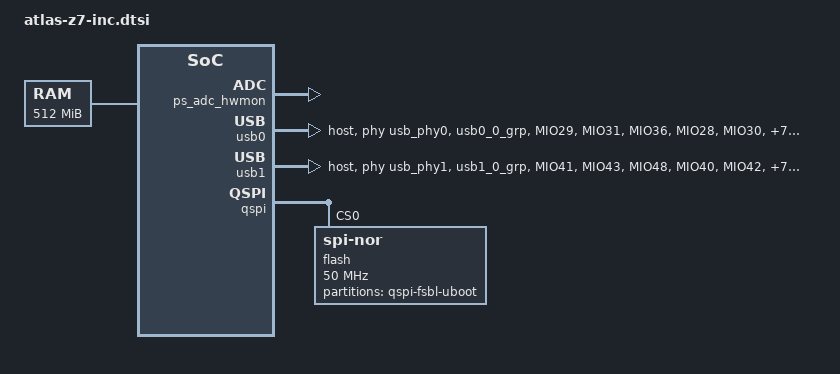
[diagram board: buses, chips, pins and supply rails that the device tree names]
/ {
    aliases {
        /* uart1 is console */
        serial0 = &uart1;
        serial1 = &uart0;
		usb0 = &usb0;
		usb1 = &usb1;
    };

	memory@0 {
		device_type = "memory";
		reg = <0x0 0x20000000>;
	};

    iv_ipmi: iv_ipmi {
        compatible = "iv,ipmi";
        #address-cells = <0x01>;
        #size-cells = <0x01>;

		// see Readme.ipmi

        iv_ipmi_mb: iv_mb {
            i2c = < 1 0x52 0 >;  // < bus_num addr offset >
        };

        iv_ipmi_io: iv_io {
            i2c = < 0 0x53 0 >;  // < bus_num addr offset >
        };
	};

	usb_phy0: phy0@e0002000 {
		compatible = "ulpi-phy";
		#phy-cells = <0>;
		reg = <0xe0002000 0x1000>;
		view-port = <0x0170>;
		drv-vbus;
	};

	usb_phy1: phy0@e0003000 {
		compatible = "ulpi-phy";
		#phy-cells = <0>;
		reg = <0xe0003000 0x1000>;
		view-port = <0x0170>;
		drv-vbus;
	};
};

&pinctrl0 {
	pinctrl_usb0_default: usb0-default {
		mux {
			groups = "usb0_0_grp";
			function = "usb0";
		};

		conf {
			groups = "usb0_0_grp";
			slew-rate = <0>;
			io-standard = <3>;
		};

		conf-rx {
			pins = "MIO29", "MIO31", "MIO36";
			bias-high-impedance;
		};

		conf-tx {
			pins = "MIO28", "MIO30", "MIO32", "MIO33", "MIO34",
			       "MIO35", "MIO37", "MIO38", "MIO39";
			bias-disable;
		};
	};

	pinctrl_usb1_default: usb1-default {
		mux {
			groups = "usb1_0_grp";
			function = "usb1";
		};

		conf {
			groups = "usb1_0_grp";
			slew-rate = <0>;
			io-standard = <3>;
		};

		conf-rx {
			pins = "MIO41", "MIO43", "MIO48";
			bias-high-impedance;
		};

		conf-tx {
			pins = "MIO40", "MIO42", "MIO44", "MIO45", "MIO46",
			       "MIO47", "MIO49", "MIO50", "MIO51";
			bias-disable;
		};
	};
};

&adc {
	#io-channel-cells = <1>;
};

&amba {
	ps_adc_hwmon {
		compatible = "iio-hwmon";
		/* 1 temperature channel, and 8 voltage channels */
		io-channels = <&adc 0>, 
			    <&adc 1>, <&adc 2>, <&adc 3>, <&adc 4>,
			    <&adc 5>, <&adc 6>, <&adc 7>, <&adc 8>;
		io-channel-names = "PS TEMP", 
				"VCC INT", "VCC AUX", "VCC BRAM", "VCC PINT",
				"VCC PAUX", "VCC ODDR", "VREFP", "VREFN";
	};

    iveia_ocp {
        compatible = "iv,ocp";
        reg = <0x0 0x40000000 0x0 0x01000000 0x0 0x70000000 0x0 0x00100000 0x0 0x74000000 0x0 0x00100000>;
        reg-names = "full", "events", "io-board";
    };
};

&usb0 {
	status = "okay";
	dr_mode = "host";
	usb-phy = <&usb_phy0>;
	pinctrl-names = "default";
	pinctrl-0 = <&pinctrl_usb0_default>;
};

&usb1 {
	status = "okay";
	dr_mode = "host";
	usb-phy = <&usb_phy1>;
	pinctrl-names = "default";
	pinctrl-0 = <&pinctrl_usb1_default>;
};

&qspi {
    status = "okay";
    is-dual = <0>;

    flash@0 {
        /* Part is: M25P16-VMN6 or W25Q80DVUXIE or other*/
        compatible = "jedec,spi-nor";
        #address-cells = <1>;
        #size-cells = <1>;
        reg = <0x0>;
        spi-max-frequency = <50000000>;
        partition@0x00000000 {
            label = "qspi-fsbl-uboot";
            reg = <0x0 0x1000000>;
        };
    };
};

